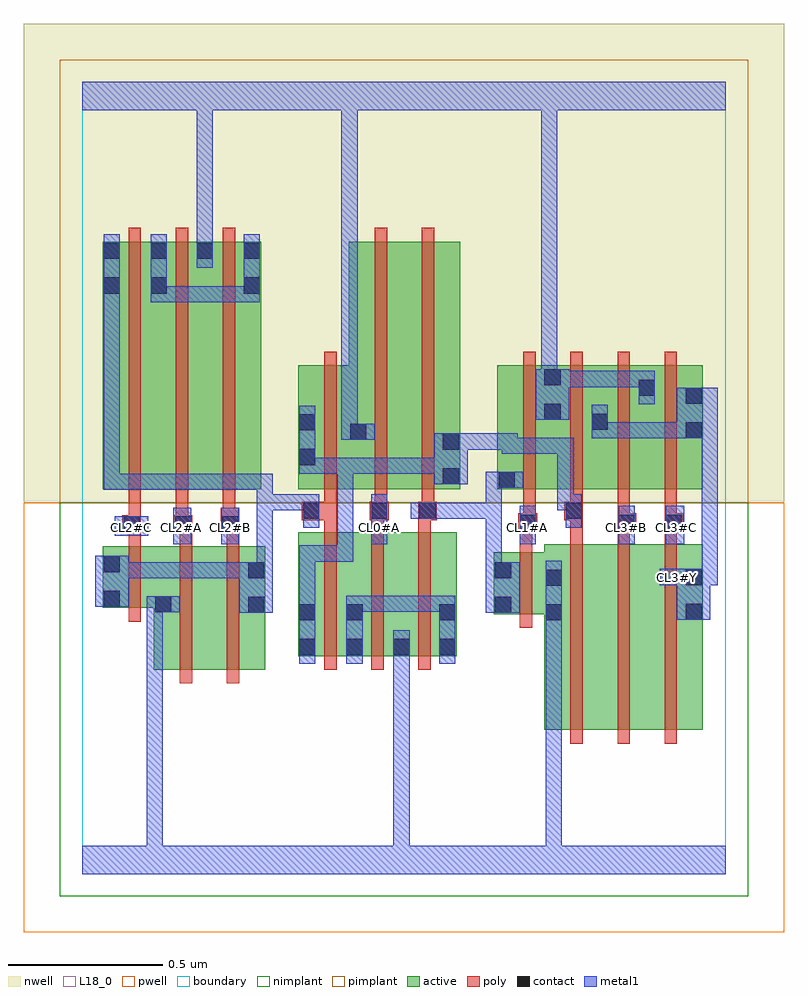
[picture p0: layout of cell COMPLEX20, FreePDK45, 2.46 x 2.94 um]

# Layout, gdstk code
import gdstk
lib = gdstk.Library(unit=1e-6, precision=1e-09)
def R(c, l, rs):  # rectangles x0, y0, x1, y1
    for r in rs: c.add(gdstk.rectangle(r[:2], r[2:], *l))
def A(c, l, x, y, w, h, nx, ny, dx, dy):  # array of equal rectangles
    R(c, l, [(x+i*dx, y+j*dy, x+i*dx+w, y+j*dy+h) for i in range(nx) for j in range(ny)])
active = (1, 0)
pwell = (2, 0)
nwell = (3, 0)
nimplant = (4, 0)
pimplant = (5, 0)
poly = (9, 0)
contact = (10, 0)
metal1 = (11, 0)
L18_0 = (18, 0)
boundary = (235, 0)

complex20 = lib.new_cell('COMPLEX20')
A(complex20, active, 1.49, 1.244, 0.212, 0.4, 3, 1, 0.152, 0)
R(complex20, active, [(1.494,0.466,1.674,1.066), (1.674,0.466,1.826,1.066), (1.826,0.466,2.006,1.066), (1.946,0.556,2.006,1.066), (0.232,0.66,0.412,1.06), (0.412,0.66,0.592,1.06), (1.494,0.684,1.554,1.028), (0.698,0.704,0.758,1.104), (0.698,0.704,0.91,1.104), (0.85,0.704,0.91,1.104), (0.85,0.704,1.062,1.104), (1.002,0.704,1.21,1.104), (1.002,0.704,1.062,0.828), (1.15,0.704,1.21,1.104), (0.532,0.756,0.592,1.06), (1.33,0.84,1.554,1.04), (1.33,0.84,1.39,1.04), (0.232,0.842,0.292,1.028), (0.066,0.86,0.126,1.06), (0.066,0.86,0.292,1.06), (0.066,1.244,0.126,2.044), (0.066,1.244,0.278,2.044), (0.218,1.244,0.426,2.044), (0.366,1.244,0.578,2.044), (0.518,1.244,0.578,2.044), (0.698,1.244,0.758,1.644), (0.698,1.244,0.922,1.644), (0.862,1.244,1.042,2.044), (1.042,1.244,1.222,2.044), (1.162,1.244,1.222,2.044), (1.342,1.244,1.402,1.644), (1.342,1.244,1.55,1.644), (1.946,1.244,2.006,1.644), (0.862,1.4,0.922,1.644), (0.366,1.42,0.426,2.044), (1.49,1.428,1.55,1.644), (1.642,1.432,1.702,1.644), (1.794,1.472,1.854,1.644), (0.218,1.686,0.278,2.044)])
R(complex20, pwell, [(-0.188,-0.188,2.268,1.2)])
R(complex20, nwell, [(-0.188,1.2,2.268,2.748)])
R(complex20, nimplant, [(-0.072,-0.072,2.152,1.2)])
R(complex20, pimplant, [(-0.072,1.2,2.152,2.632)])
A(complex20, poly, 1.578, 0.422, 0.04, 0.688, 3, 1, 0.152, 0)
A(complex20, poly, 0.782, 0.66, 0.04, 0.488, 3, 1, 0.152, 0)
A(complex20, poly, 0.782, 1.108, 0.04, 0.076, 3, 1, 0.152, 0)
A(complex20, poly, 0.15, 1.2, 0.04, 0.888, 3, 1, 0.152, 0)
A(complex20, poly, 1.426, 1.2, 0.04, 0.488, 4, 1, 0.152, 0)
R(complex20, poly, [(0.316,0.616,0.356,1.104), (0.468,0.616,0.508,1.104), (1.414,0.796,1.454,1.084), (0.15,0.816,0.19,1.104), (1.414,1.044,1.454,1.146), (0.15,1.064,0.19,1.14), (0.316,1.064,0.356,1.14), (0.468,1.064,0.508,1.14), (1.578,1.07,1.618,1.184), (1.73,1.07,1.77,1.146), (1.882,1.07,1.922,1.146), (0.13,1.1,0.19,1.16), (0.296,1.1,0.356,1.16), (0.448,1.1,0.508,1.184), (1.41,1.106,1.47,1.166), (1.414,1.106,1.454,1.146), (1.414,1.106,1.454,1.146), (1.73,1.106,1.79,1.166), (1.882,1.106,1.922,1.146), (1.882,1.106,1.922,1.146), (1.882,1.106,1.942,1.166), (0.15,1.12,0.19,1.16), (0.15,1.12,0.19,1.16), (0.15,1.12,0.19,1.24), (0.302,1.12,0.342,1.16), (0.302,1.12,0.342,1.16), (0.302,1.12,0.342,1.24), (1.426,1.126,1.466,1.24), (1.73,1.126,1.77,1.24), (1.73,1.126,1.77,1.166), (1.73,1.126,1.77,1.166), (1.882,1.126,1.922,1.24), (0.454,1.144,0.494,1.184), (0.454,1.144,0.494,1.184), (0.454,1.144,0.494,1.24), (0.71,1.144,0.822,1.204), (0.782,1.144,0.822,1.184), (0.782,1.144,0.822,1.184), (0.93,1.144,0.99,1.204), (0.934,1.144,0.974,1.184), (0.934,1.144,0.974,1.184), (1.086,1.144,1.146,1.204), (1.558,1.144,1.618,1.204), (1.578,1.144,1.618,1.184), (1.578,1.144,1.618,1.184), (0.782,1.164,0.822,1.24), (0.946,1.164,0.986,1.24), (1.098,1.164,1.138,1.204), (1.098,1.164,1.138,1.204), (1.098,1.164,1.138,1.24), (1.578,1.164,1.618,1.24), (0.782,1.2,0.822,1.688), (0.946,1.2,0.986,2.088), (1.098,1.2,1.138,2.088)])
A(complex20, contact, 0.702, 0.708, 0.052, 0.052, 3, 1, 0.152, 0)
R(complex20, contact, [(1.154,0.708,1.206,0.76), (0.702,0.82,0.754,0.872), (0.854,0.82,0.906,0.872), (1.154,0.82,1.206,0.872), (1.498,0.82,1.55,0.872), (1.95,0.822,2.002,0.874), (0.536,0.844,0.588,0.896), (1.334,0.844,1.386,0.896), (0.236,0.846,0.288,0.898), (0.07,0.864,0.122,0.916), (1.498,0.932,1.55,0.984), (1.95,0.934,2.002,0.986), (0.536,0.956,0.588,1.008), (1.334,0.956,1.386,1.008), (0.07,0.976,0.122,1.028), (0.134,1.104,0.186,1.156), (0.3,1.104,0.352,1.156), (0.452,1.104,0.504,1.156), (1.414,1.11,1.466,1.162), (1.734,1.11,1.786,1.162), (1.886,1.11,1.938,1.162), (0.714,1.148,0.766,1.2), (0.934,1.148,0.986,1.2), (1.09,1.148,1.142,1.2), (1.562,1.148,1.614,1.2), (1.346,1.248,1.398,1.3), (1.166,1.26,1.218,1.312), (0.702,1.322,0.754,1.374), (1.166,1.372,1.218,1.424), (0.866,1.404,0.918,1.456), (1.95,1.408,2.002,1.46), (0.702,1.434,0.754,1.486), (1.646,1.436,1.698,1.488), (1.494,1.468,1.546,1.52), (1.95,1.52,2.002,1.572), (1.798,1.546,1.85,1.598), (1.494,1.58,1.546,1.632), (0.07,1.876,0.122,1.928), (0.222,1.876,0.274,1.928), (0.522,1.876,0.574,1.928), (0.07,1.988,0.122,2.04), (0.222,1.988,0.274,2.04), (0.37,1.988,0.422,2.04), (0.522,1.988,0.574,2.04)])
R(complex20, metal1, [(0,0,2.08,0.092), (0.208,0.04,0.26,0.092), (0.208,0.04,0.26,0.092), (0.208,0.04,0.26,0.092), (0.208,0.04,0.26,0.092), (0.208,0.04,0.26,0.092), (0.208,0.04,0.26,0.092), (0.208,0.04,0.26,0.092), (0.208,0.04,0.26,0.092), (0.208,0.04,0.26,0.898), (1.006,0.04,1.058,0.092), (1.006,0.04,1.058,0.092), (1.006,0.04,1.058,0.092), (1.006,0.04,1.058,0.092), (1.006,0.04,1.058,0.092), (1.006,0.04,1.058,0.092), (1.006,0.04,1.058,0.092), (1.006,0.04,1.058,0.092), (1.006,0.04,1.058,0.092), (1.006,0.04,1.058,0.092), (1.006,0.04,1.058,0.732), (1.498,0.04,1.55,0.092), (1.498,0.04,1.55,0.092), (1.498,0.04,1.55,0.092), (1.498,0.04,1.55,0.092), (1.498,0.04,1.55,0.092), (1.498,0.04,1.55,0.092), (1.498,0.04,1.55,0.092), (1.498,0.04,1.55,0.092), (1.498,0.04,1.55,0.844), (0.702,0.68,0.754,0.9), (0.854,0.68,0.906,0.9), (1.006,0.68,1.058,0.732), (1.006,0.68,1.058,0.732), (1.006,0.68,1.058,0.788), (1.154,0.68,1.206,0.9), (1.498,0.792,1.55,1.012), (1.922,0.822,2.03,0.986), (0.508,0.844,0.616,1.008), (1.304,0.844,1.414,1.008), (0.208,0.846,0.26,0.898), (0.208,0.846,0.26,0.898), (0.208,0.846,0.26,0.898), (0.208,0.846,0.26,0.898), (0.208,0.846,0.316,0.898), (0.702,0.848,0.754,1.062), (0.854,0.848,0.906,0.9), (0.854,0.848,0.906,0.9), (0.854,0.848,1.016,0.9), (0.964,0.848,1.016,0.9), (0.964,0.848,1.206,0.9), (1.154,0.848,1.206,0.9), (1.154,0.848,1.206,0.9), (0.042,0.864,0.15,1.028), (1.866,0.934,2.054,0.986), (1.946,0.934,1.998,0.986), (2.002,0.934,2.054,1.46), (0.098,0.956,0.15,1.008), (0.098,0.956,0.15,1.008), (0.098,0.956,0.312,1.008), (0.26,0.956,0.312,1.008), (0.26,0.956,0.312,1.008), (0.26,0.956,0.312,1.008), (0.26,0.956,0.45,1.008), (0.398,0.956,0.45,1.008), (0.398,0.956,0.45,1.008), (0.398,0.956,0.45,1.008), (0.398,0.956,0.56,1.008), (0.564,0.956,0.616,1.008), (0.564,0.956,0.616,1.008), (0.564,0.956,0.616,1.228), (1.304,0.956,1.356,1.2), (0.702,1.01,0.754,1.062), (0.702,1.01,0.754,1.062), (0.702,1.01,0.754,1.062), (0.702,1.01,0.876,1.062), (0.824,1.01,0.876,1.062), (0.824,1.01,0.876,1.062), (0.824,1.01,0.876,1.062), (0.824,1.01,0.876,1.346), (0.294,1.066,0.352,1.184), (0.45,1.066,0.506,1.184), (0.934,1.066,0.986,1.228), (1.414,1.066,1.466,1.19), (1.734,1.066,1.786,1.19), (1.886,1.066,1.946,1.19), (0.106,1.094,0.214,1.156), (0.714,1.12,0.766,1.228), (1.562,1.12,1.614,1.228), (1.062,1.148,1.17,1.2), (1.118,1.148,1.17,1.2), (1.118,1.148,1.17,1.2), (1.118,1.148,1.356,1.2), (1.304,1.148,1.356,1.2), (1.304,1.148,1.356,1.2), (1.304,1.148,1.356,1.2), (1.304,1.148,1.356,1.3), (0.564,1.176,0.766,1.228), (0.564,1.176,0.616,1.294), (0.714,1.176,0.766,1.228), (0.714,1.176,0.766,1.228), (1.536,1.176,1.588,1.228), (1.536,1.176,1.588,1.228), (1.536,1.176,1.588,1.228), (1.536,1.176,1.614,1.228), (1.536,1.176,1.588,1.41), (0.07,1.242,0.122,1.294), (0.07,1.242,0.122,1.294), (0.07,1.242,0.122,1.294), (0.07,1.242,0.312,1.294), (0.07,1.242,0.122,1.9), (0.26,1.242,0.312,1.294), (0.26,1.242,0.312,1.294), (0.26,1.242,0.312,1.294), (0.26,1.242,0.45,1.294), (0.398,1.242,0.45,1.294), (0.398,1.242,0.616,1.294), (0.564,1.242,0.616,1.294), (0.564,1.242,0.616,1.294), (1.304,1.248,1.426,1.3), (1.138,1.26,1.246,1.424), (0.702,1.294,0.754,1.346), (0.702,1.294,0.754,1.346), (0.702,1.294,0.876,1.346), (0.702,1.294,0.754,1.514), (0.824,1.294,0.876,1.346), (0.824,1.294,0.876,1.346), (0.824,1.294,0.876,1.346), (0.824,1.294,1.016,1.346), (0.964,1.294,1.016,1.346), (0.964,1.294,1.19,1.346), (1.138,1.294,1.19,1.346), (1.138,1.294,1.19,1.346), (1.356,1.358,1.588,1.41), (1.356,1.358,1.408,1.424), (1.536,1.358,1.588,1.41), (1.194,1.372,1.246,1.424), (1.194,1.372,1.246,1.424), (1.194,1.372,1.408,1.424), (1.356,1.372,1.408,1.424), (1.356,1.372,1.408,1.424), (0.838,1.404,0.946,1.456), (0.838,1.404,0.89,2.52), (1.646,1.408,1.698,1.46), (1.646,1.408,1.698,1.46), (1.646,1.408,1.698,1.516), (1.646,1.408,1.808,1.46), (1.756,1.408,1.808,1.46), (1.756,1.408,1.974,1.46), (1.922,1.408,1.974,1.46), (1.922,1.408,1.974,1.46), (1.922,1.408,2.054,1.572), (2.002,1.408,2.054,1.46), (2.002,1.408,2.054,1.46), (1.466,1.468,1.574,1.632), (1.798,1.518,1.85,1.626), (1.522,1.574,1.576,1.626), (1.524,1.574,1.576,1.626), (1.524,1.574,1.698,1.626), (1.646,1.574,1.698,1.626), (1.646,1.574,1.698,1.626), (1.646,1.574,1.698,1.626), (1.646,1.574,1.85,1.626), (1.484,1.58,1.536,1.632), (1.484,1.58,1.536,1.632), (1.484,1.58,1.536,2.52), (0.07,1.848,0.122,2.068), (0.222,1.848,0.274,1.9), (0.222,1.848,0.274,1.9), (0.222,1.848,0.274,2.068), (0.222,1.848,0.45,1.9), (0.398,1.848,0.45,1.9), (0.398,1.848,0.45,1.9), (0.398,1.848,0.45,1.9), (0.398,1.848,0.574,1.9), (0.522,1.848,0.574,2.068), (0.37,1.96,0.422,2.068), (0.37,2.016,0.422,2.52), (0,2.468,2.08,2.56), (0.37,2.468,0.422,2.52), (0.37,2.468,0.422,2.52), (0.37,2.468,0.422,2.52), (0.37,2.468,0.422,2.52), (0.37,2.468,0.422,2.52), (0.37,2.468,0.422,2.52), (0.37,2.468,0.422,2.52), (0.37,2.468,0.422,2.52), (0.838,2.468,0.89,2.52), (0.838,2.468,0.89,2.52), (0.838,2.468,0.89,2.52), (0.838,2.468,0.89,2.52), (0.838,2.468,0.89,2.52), (0.838,2.468,0.89,2.52), (0.838,2.468,0.89,2.52), (0.838,2.468,0.89,2.52), (1.484,2.468,1.536,2.52), (1.484,2.468,1.536,2.52), (1.484,2.468,1.536,2.52), (1.484,2.468,1.536,2.52), (1.484,2.468,1.536,2.52), (1.484,2.468,1.536,2.52), (1.484,2.468,1.536,2.52), (1.484,2.468,1.536,2.52), (1.484,2.468,1.536,2.52), (1.484,2.468,1.536,2.52), (1.484,2.468,1.536,2.52), (1.484,2.468,1.536,2.52), (1.484,2.468,1.536,2.52), (1.484,2.468,1.536,2.52)])
A(complex20, L18_0, 0.134, 1.094, 0.052, 0.052, 3, 1, 0.16, 0)
R(complex20, L18_0, [(0,0,2.08,0.092), (0.208,0.04,0.26,0.092), (0.208,0.04,0.26,0.092), (0.208,0.04,0.26,0.092), (0.208,0.04,0.26,0.092), (0.208,0.04,0.26,0.092), (0.208,0.04,0.26,0.092), (0.208,0.04,0.26,0.092), (0.208,0.04,0.26,0.092), (0.208,0.04,0.26,0.898), (1.006,0.04,1.058,0.092), (1.006,0.04,1.058,0.092), (1.006,0.04,1.058,0.092), (1.006,0.04,1.058,0.092), (1.006,0.04,1.058,0.092), (1.006,0.04,1.058,0.092), (1.006,0.04,1.058,0.092), (1.006,0.04,1.058,0.092), (1.006,0.04,1.058,0.092), (1.006,0.04,1.058,0.092), (1.006,0.04,1.058,0.732), (1.498,0.04,1.55,0.092), (1.498,0.04,1.55,0.092), (1.498,0.04,1.55,0.092), (1.498,0.04,1.55,0.092), (1.498,0.04,1.55,0.092), (1.498,0.04,1.55,0.092), (1.498,0.04,1.55,0.092), (1.498,0.04,1.55,0.092), (1.498,0.04,1.55,0.844), (1.006,0.68,1.058,0.732), (1.006,0.68,1.058,0.732), (1.006,0.68,1.058,0.788), (1.498,0.792,1.55,1.012), (1.922,0.822,2.03,0.986), (0.208,0.846,0.26,0.898), (0.208,0.846,0.26,0.898), (0.208,0.846,0.26,0.898), (0.208,0.846,0.26,0.898), (0.208,0.846,0.316,0.898), (1.866,0.934,2.054,0.986), (1.894,0.934,1.946,0.986), (1.946,0.934,1.998,0.986), (2.002,0.934,2.054,1.46), (0.294,1.066,0.352,1.184), (0.45,1.066,0.506,1.184), (0.934,1.066,0.986,1.228), (1.414,1.066,1.466,1.19), (1.734,1.066,1.786,1.19), (1.886,1.066,1.946,1.19), (0.106,1.094,0.214,1.156), (0.934,1.094,0.986,1.146), (1.414,1.094,1.466,1.146), (1.734,1.094,1.786,1.146), (1.894,1.094,1.946,1.146), (0.838,1.404,0.946,1.456), (0.838,1.404,0.89,2.52), (1.646,1.408,1.698,1.46), (1.646,1.408,1.698,1.46), (1.646,1.408,1.698,1.516), (1.646,1.408,1.808,1.46), (1.756,1.408,1.808,1.46), (1.756,1.408,1.974,1.46), (1.922,1.408,1.974,1.46), (1.922,1.408,1.974,1.46), (1.922,1.408,2.054,1.572), (2.002,1.408,2.054,1.46), (2.002,1.408,2.054,1.46), (1.466,1.468,1.574,1.632), (1.798,1.518,1.85,1.626), (1.522,1.574,1.576,1.626), (1.524,1.574,1.576,1.626), (1.524,1.574,1.698,1.626), (1.646,1.574,1.698,1.626), (1.646,1.574,1.698,1.626), (1.646,1.574,1.698,1.626), (1.646,1.574,1.85,1.626), (1.484,1.58,1.536,1.632), (1.484,1.58,1.536,1.632), (1.484,1.58,1.536,2.52), (0.37,1.96,0.422,2.068), (0.37,2.016,0.422,2.52), (0,2.468,2.08,2.56), (0.37,2.468,0.422,2.52), (0.37,2.468,0.422,2.52), (0.37,2.468,0.422,2.52), (0.37,2.468,0.422,2.52), (0.37,2.468,0.422,2.52), (0.37,2.468,0.422,2.52), (0.37,2.468,0.422,2.52), (0.37,2.468,0.422,2.52), (0.838,2.468,0.89,2.52), (0.838,2.468,0.89,2.52), (0.838,2.468,0.89,2.52), (0.838,2.468,0.89,2.52), (0.838,2.468,0.89,2.52), (0.838,2.468,0.89,2.52), (0.838,2.468,0.89,2.52), (0.838,2.468,0.89,2.52), (1.484,2.468,1.536,2.52), (1.484,2.468,1.536,2.52), (1.484,2.468,1.536,2.52), (1.484,2.468,1.536,2.52), (1.484,2.468,1.536,2.52), (1.484,2.468,1.536,2.52), (1.484,2.468,1.536,2.52), (1.484,2.468,1.536,2.52), (1.484,2.468,1.536,2.52), (1.484,2.468,1.536,2.52), (1.484,2.468,1.536,2.52), (1.484,2.468,1.536,2.52), (1.484,2.468,1.536,2.52), (1.484,2.468,1.536,2.52)])
R(complex20, boundary, [(0,0,2.08,2.56)])
complex20.add(gdstk.Label('CL0#A', (0.96,1.12), layer=11, texttype=0))
complex20.add(gdstk.Label('CL1#A', (1.44,1.12), layer=11, texttype=0))
complex20.add(gdstk.Label('CL2#A', (0.32,1.12), layer=11, texttype=0))
complex20.add(gdstk.Label('CL2#B', (0.48,1.12), layer=11, texttype=0))
complex20.add(gdstk.Label('CL2#C', (0.16,1.12), layer=11, texttype=0))
complex20.add(gdstk.Label('CL3#B', (1.76,1.12), layer=11, texttype=0))
complex20.add(gdstk.Label('CL3#C', (1.92,1.12), layer=11, texttype=0))
complex20.add(gdstk.Label('CL3#Y', (1.92,0.96), layer=11, texttype=0))

lib.write_gds('COMPLEX20.gds')
